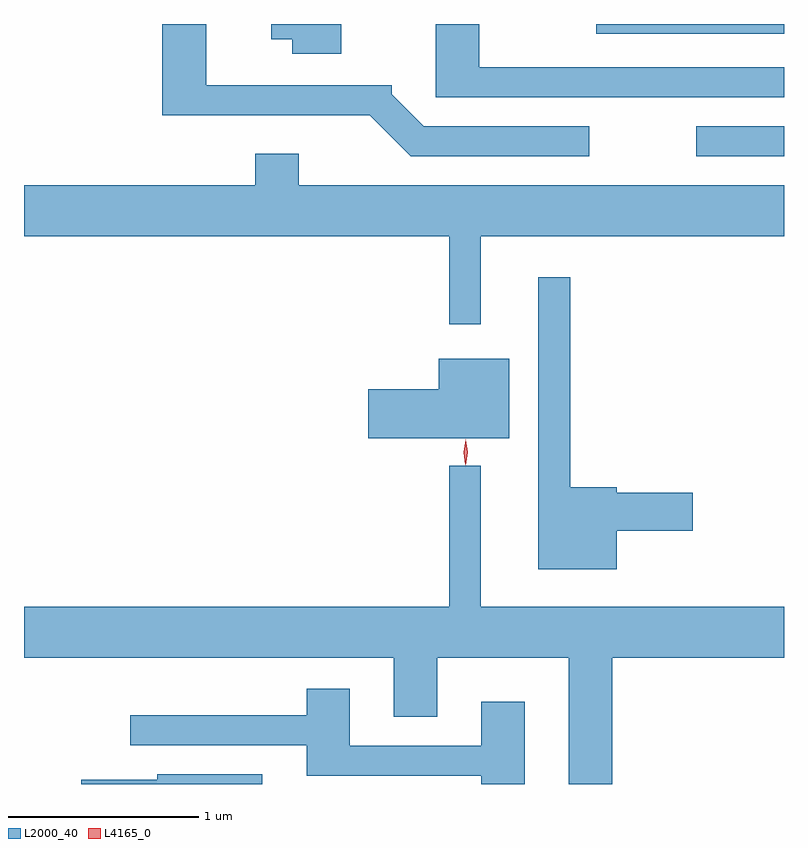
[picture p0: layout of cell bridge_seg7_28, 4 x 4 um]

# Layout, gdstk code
import gdstk
lib = gdstk.Library(unit=1e-6, precision=1e-09)
def R(c, l, rs):  # rectangles x0, y0, x1, y1
    for r in rs: c.add(gdstk.rectangle(r[:2], r[2:], *l))
def P(c, l, *ps):  # polygons
    for p in ps: c.add(gdstk.Polygon(p, *l))
L2000_40 = (2000, 40)
L4165_0 = (4165, 0)

bridge_seg7_28 = lib.new_cell('bridge_seg7_28')
R(bridge_seg7_28, L2000_40, [(1702.203,1748.036,1702.664,1748.194), (1701.676,1748.681,1702.664,1748.732)])
P(bridge_seg7_28, L2000_40, [(1701.638,1748.194),(1700.767,1748.194),(1700.599,1748.362),(1700.599,1748.409),(1699.624,1748.409),(1699.624,1748.732),(1699.391,1748.732),(1699.391,1748.251),(1700.484,1748.251),(1700.699,1748.036),(1701.638,1748.036)],
  [(1700.334,1748.732),(1699.966,1748.732),(1699.966,1748.651),(1700.076,1748.651),(1700.076,1748.576),(1700.334,1748.576)],
  [(1702.664,1748.504),(1701.059,1748.504),(1701.059,1748.732),(1700.831,1748.732),(1700.831,1748.346),(1702.664,1748.346)],
  [(1701.069,1747.616),(1702.664,1747.616),(1702.664,1747.884),(1700.109,1747.884),(1700.109,1748.049),(1699.881,1748.049),(1699.881,1747.884),(1698.664,1747.884),(1698.664,1747.616),(1700.901,1747.616),(1700.901,1747.153),(1701.069,1747.153)],
  [(1701.784,1746.066),(1702.184,1746.066),(1702.184,1746.264),(1701.784,1746.264),(1701.784,1746.294),(1701.539,1746.294),(1701.539,1747.398),(1701.371,1747.398),(1701.371,1745.861),(1701.784,1745.861)],
  [(1701.219,1746.969),(1700.846,1746.969),(1700.846,1746.809),(1700.476,1746.809),(1700.476,1746.551),(1701.219,1746.551)],
  [(1701.759,1745.396),(1702.664,1745.396),(1702.664,1745.664),(1701.069,1745.664),(1701.069,1746.408),(1700.901,1746.408),(1700.901,1745.664),(1698.664,1745.664),(1698.664,1745.396),(1700.611,1745.396),(1700.611,1745.086),(1700.839,1745.086),(1700.839,1745.396),(1701.531,1745.396),(1701.531,1744.732),(1701.759,1744.732)],
  [(1701.299,1745.164),(1701.071,1745.164),(1701.071,1744.934),(1700.379,1744.934),(1700.379,1745.234),(1700.151,1745.234),(1700.151,1745.094),(1699.223,1745.094),(1699.223,1744.936),(1700.151,1744.936),(1700.151,1744.776),(1701.071,1744.776),(1701.071,1744.732),(1701.299,1744.732)],
  [(1699.919,1744.784),(1699.366,1744.784),(1699.366,1744.754),(1698.966,1744.754),(1698.966,1744.732),(1699.919,1744.732)])
P(bridge_seg7_28, L4165_0, [(1700.988,1746.41),(1700.988,1746.41),(1700.979,1746.478),(1700.99,1746.545),(1700.99,1746.546),(1700.99,1746.545),(1700.999,1746.478),(1700.989,1746.41)],
  [(1700.988,1746.413),(1700.987,1746.414),(1700.979,1746.476),(1700.989,1746.539),(1700.99,1746.54),(1700.99,1746.539),(1700.999,1746.476),(1700.988,1746.414)])

lib.write_gds('bridge_seg7_28.gds')
